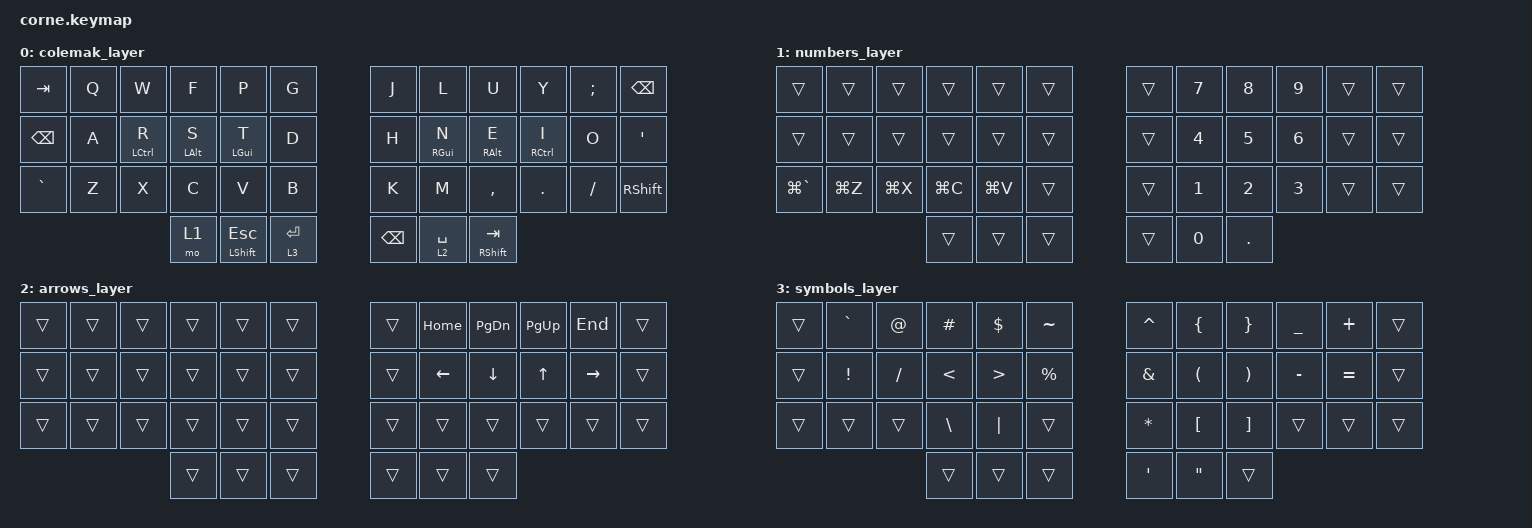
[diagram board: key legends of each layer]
/*
 * Copyright (c) 2020 The ZMK Contributors
 *
 * SPDX-License-Identifier: MIT
 *
 * Decoded from Dygma Defy "Jono Defy" keymap
 * Original layers: Colemak, Numbers, Arrows, Symbols, Magnet
 */

#include <behaviors.dtsi>
#include <dt-bindings/zmk/keys.h>
#include <dt-bindings/zmk/bt.h>

/ {
        behaviors {
                hml: home_row_mod_left {
                        compatible = "zmk,behavior-hold-tap";
                        #binding-cells = <2>;
                        flavor = "balanced";
                        require-prior-idle-ms = <150>;
                        tapping-term-ms = <280>;
                        quick-tap-ms = <175>;
                        bindings = <&kp>, <&kp>;
                        hold-trigger-on-release;
                };

                hmr: home_row_mod_right {
                        compatible = "zmk,behavior-hold-tap";
                        #binding-cells = <2>;
                        flavor = "balanced";
                        require-prior-idle-ms = <150>;
                        tapping-term-ms = <280>;
                        quick-tap-ms = <175>;
                        bindings = <&kp>, <&kp>;
                        hold-trigger-on-release;
                };

                lth: layer_tap_hold {
                        compatible = "zmk,behavior-hold-tap";
                        #binding-cells = <2>;
                        flavor = "hold-preferred";
                        require-prior-idle-ms = <150>;
                        tapping-term-ms = <200>;
                        quick-tap-ms = <125>;
                        bindings = <&mo>, <&kp>;
                };
        };

        keymap {
                compatible = "zmk,keymap";

                // Layer 0: Colemak
                colemak_layer {
// ┌──────┬──────┬──────┬──────┬──────┬──────┐   ┌──────┬──────┬──────┬──────┬──────┬──────┐
// │ TAB  │  Q   │  W   │  F   │  P   │  G   │   │  J   │  L   │  U   │  Y   │ SEMI │ BSPC │
// │ ESC  │  A   │ R/⌃  │ S/⌥  │ T/⌘  │  D   │   │  H   │ N/⌘  │ E/⌥  │ I/⌃  │  O   │  '   │
// │ SHFT │  Z   │  X   │  C   │  V   │  B   │   │  K   │  M   │  ,   │  .   │  /   │ SHFT │
// └──────┴──────┴──────┼──────┼──────┼──────┤   ├──────┼──────┼──────┼──────┴──────┴──────┘
//                      │  L1  │ESC/⇧ │RET/L3│   │ BSPC │SPC/L2│ TAB  │
//                      └──────┴──────┴──────┘   └──────┴──────┴──────┘
                        bindings = <
   &kp TAB    &kp Q  &kp W        &kp F       &kp P          &kp G        &kp J     &kp L         &kp U       &kp Y          &kp SEMI     &kp BSPC
   &kp BSPC   &kp A  &hml LCTRL R &hml LALT S &hml LGUI T    &kp D        &kp H     &hmr RGUI N   &hmr RALT E &hmr RCTRL I   &kp O        &kp SQT
   &kp GRAVE  &kp Z  &kp X        &kp C       &kp V          &kp B        &kp K     &kp M         &kp COMMA   &kp DOT        &kp FSLH     &kp RSHFT
                                  &mo 1       &mt LSHFT ESC  &lth 3 RET   &kp BSPC  &lth 2 SPACE  &mt RSHFT TAB
                        >;
                };

                // Layer 1: Numbers & Shortcuts
                numbers_layer {
// ┌──────┬──────┬──────┬──────┬──────┬──────┐   ┌──────┬──────┬──────┬──────┬──────┬──────┐
// │      │      │      │      │      │      │   │      │  7   │  8   │  9   │      │      │
// │      │      │      │      │      │      │   │      │  4   │  5   │  6   │      │      │
// │  ⌘+` │ ⌘+Z  │ ⌘+X  │ ⌘+C  │ ⌘+V  │      │   │      │  1   │  2   │  3   │      │      │
// └──────┴──────┴──────┼──────┼──────┼──────┤   ├──────┼──────┼──────┼──────┴──────┴──────┘
//                      │      │      │      │   │      │  0   │  .   │
//                      └──────┴──────┴──────┘   └──────┴──────┴──────┘
                        bindings = <
   &trans        &trans     &trans     &trans     &trans     &trans     &trans     &kp N7     &kp N8     &kp N9     &trans     &trans
   &trans        &trans     &trans     &trans     &trans     &trans     &trans     &kp N4     &kp N5     &kp N6     &trans     &trans
   &kp LG(GRAVE) &kp LG(Z)  &kp LG(X)  &kp LG(C)  &kp LG(V)  &trans     &trans     &kp N1     &kp N2     &kp N3     &trans     &trans
                                       &trans     &trans     &trans     &trans     &kp N0     &kp DOT
                        >;
                };

                // Layer 2: Arrows
                arrows_layer {
// ┌──────┬──────┬──────┬──────┬──────┬──────┐   ┌──────┬──────┬──────┬──────┬──────┬──────┐
// │      │      │      │      │      │      │   │      │ HOME │ PGDN │ PGUP │ END  │      │
// │      │      │      │      │      │      │   │      │ LEFT │ DOWN │  UP  │ RGHT │      │
// │      │      │      │      │      │      │   │      │      │      │      │      │      │
// └──────┴──────┴──────┼──────┼──────┼──────┤   ├──────┼──────┼──────┼──────┴──────┴──────┘
//                      │      │      │      │   │      │      │      │
//                      └──────┴──────┴──────┘   └──────┴──────┴──────┘
                        bindings = <
   &trans  &trans  &trans  &trans  &trans  &trans     &trans &kp HOME &kp PG_DN  &kp PG_UP  &kp END    &trans
   &trans  &trans  &trans  &trans  &trans  &trans     &trans &kp LEFT &kp DOWN   &kp UP     &kp RIGHT  &trans
   &trans  &trans  &trans  &trans  &trans  &trans     &trans &trans   &trans     &trans     &trans     &trans
                           &trans  &trans  &trans     &trans &trans   &trans
                        >;
                };

                // Layer 3: Symbols
                symbols_layer {
// ┌──────┬──────┬──────┬──────┬──────┬──────┐   ┌──────┬──────┬──────┬──────┬──────┬──────┐
// │      │  `   │  @   │  #   │  $   │  ~   │   │  ^   │  {   │  }   │  _   │  +   │      │
// │      │  !   │  /   │  <   │  >   │  %   │   │  &   │  (   │  )   │  -   │  =   │      │
// │      │      │      │  \   │  |   │      │   │  *   │  [   │  ]   │      │      │      │
// └──────┴──────┴──────┼──────┼──────┼──────┤   ├──────┼──────┼──────┼──────┴──────┴──────┘
//                      │      │      │      │   │  '   │  "   │      │
//                      └──────┴──────┴──────┘   └──────┴──────┴──────┘
                        bindings = <
   &trans  &kp GRAVE  &kp AT    &kp HASH   &kp DLLR   &kp TILDE  &kp CARET &kp LBRC  &kp RBRC  &kp UNDER  &kp PLUS   &trans
   &trans  &kp EXCL   &kp FSLH  &kp LT     &kp GT     &kp PRCNT  &kp AMPS  &kp LPAR  &kp RPAR  &kp MINUS  &kp EQUAL  &trans
   &trans  &trans     &trans    &kp BSLH   &kp PIPE   &trans     &kp STAR  &kp LBKT  &kp RBKT  &trans     &trans     &trans
                                &trans     &trans     &trans     &kp SQT   &kp DQT   &trans
                        >;
                };

        };
};
